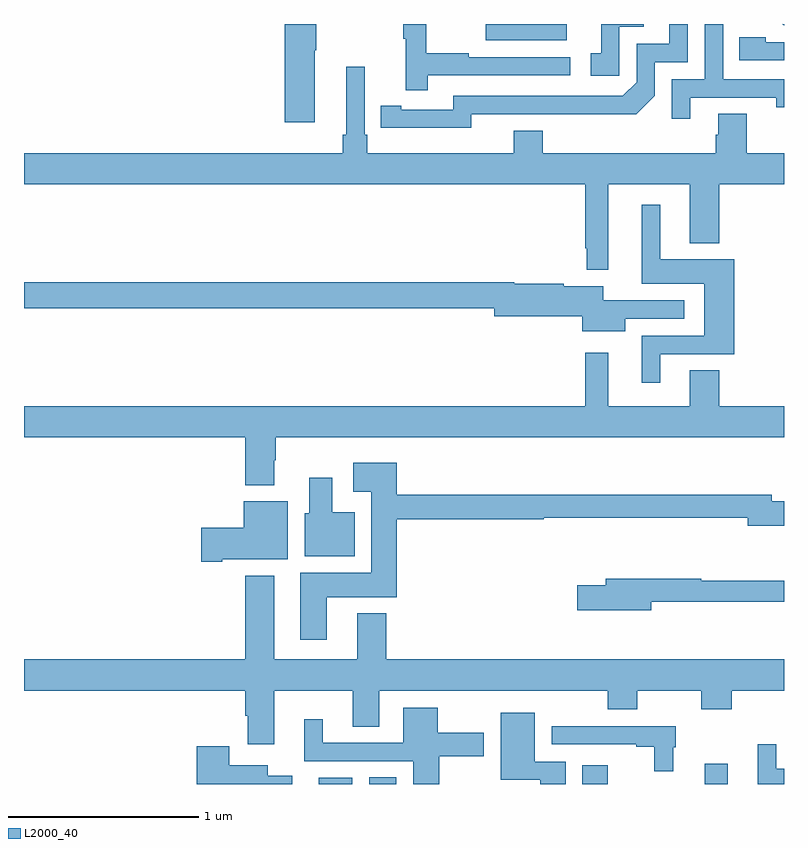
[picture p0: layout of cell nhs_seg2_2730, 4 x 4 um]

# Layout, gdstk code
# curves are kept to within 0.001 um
import gdstk
lib = gdstk.Library(unit=1e-6, precision=1e-09)
def R(c, l, rs):  # rectangles x0, y0, x1, y1
    for r in rs: c.add(gdstk.rectangle(r[:2], r[2:], *l))
def P(c, l, *ps):  # polygons
    for p in ps: c.add(gdstk.Polygon(p, *l))
L2000_40 = (2000, 40)

nhs_seg2_2730 = lib.new_cell('nhs_seg2_2730')
R(nhs_seg2_2730, L2000_40, [(254.552,657.8,254.728,657.832), (254.816,657.8,254.959,657.836), (255.938,657.8,256.072,657.898), (256.583,657.8,256.705,657.907), (255.429,661.715,255.856,661.8)])
P(nhs_seg2_2730, L2000_40, [(254.53,661.663),(254.538,661.663),(254.538,661.8),(254.372,661.8),(254.372,661.284),(254.53,661.284)],
  [(255.125,661.53),(255.874,661.53),(255.874,661.626),(255.341,661.626),(255.341,661.646),(255.118,661.646),(255.118,661.8),(254.997,661.8),(254.997,661.723),(255.008,661.723),(255.008,661.452),(255.125,661.452)],
  [(257,661.8),(256.992,661.8),(256.998,661.794),(257,661.794)],
  [(256.507,661.413),(256.958,661.413),(256.958,661.362),(257,661.362),(257,661.509),(256.68,661.509),(256.68,661.8),(256.584,661.8),(256.584,661.509),(256.41,661.509),(256.41,661.302),(256.507,661.302)],
  [(255.354,661.326),(256.222,661.325),(256.32,661.422),(256.32,661.599),(256.494,661.599),(256.494,661.8),(256.397,661.8),(256.397,661.695),(256.224,661.695),(256.224,661.494),(256.152,661.422),(255.258,661.422),(255.258,661.35),(254.986,661.35),(254.986,661.37),(254.878,661.37),(254.878,661.254),(255.354,661.253)],
  [(256.134,661.785),(256.263,661.785),(256.263,661.8),(256.037,661.8),(256.037,661.647),(255.984,661.647),(255.984,661.527),(256.134,661.527)],
  [(257,661.704),(256.905,661.704),(256.905,661.731),(256.765,661.731),(256.765,661.608),(257,661.608)],
  [(256.075,660.956),(256.505,660.956),(256.505,660.647),(256.658,660.647),(256.658,660.956),(257,660.956),(257,661.12),(256.803,661.12),(256.803,661.328),(256.655,661.328),(256.655,661.218),(256.642,661.218),(256.642,661.12),(255.731,661.12),(255.731,661.237),(255.578,661.237),(255.578,661.12),(254.807,661.12),(254.807,661.216),(254.793,661.216),(254.793,661.576),(254.696,661.576),(254.696,661.216),(254.677,661.216),(254.677,661.12),(253,661.12),(253,660.956),(255.954,660.956),(255.954,660.619),(255.961,660.619),(255.961,660.507),(256.075,660.507)],
  [(256.348,660.063),(256.739,660.063),(256.739,660.562),(256.348,660.562),(256.348,660.85),(256.25,660.85),(256.25,660.434),(256.58,660.434),(256.58,660.159),(256.25,660.159),(256.25,659.913),(256.348,659.913)],
  [(256.165,660.249),(256.474,660.249),(256.474,660.345),(256.048,660.345),(256.048,660.421),(255.842,660.421),(255.842,660.434),(255.58,660.434),(255.58,660.44),(253,660.44),(253,660.304),(255.476,660.304),(255.476,660.262),(255.938,660.262),(255.938,660.182),(256.165,660.182)],
  [(253,659.624),(254.165,659.624),(254.165,659.372),(254.317,659.372),(254.317,659.504),(254.325,659.504),(254.325,659.624),(257,659.624),(257,659.788),(256.658,659.788),(256.658,659.978),(256.505,659.978),(256.505,659.788),(256.075,659.788),(256.075,660.07),(255.954,660.07),(255.954,659.788),(253,659.788)],
  [(254.593,658.784),(254.963,658.784),(254.963,659.194),(255.735,659.194),(255.735,659.202),(256.808,659.202),(256.808,659.159),(257,659.159),(257,659.289),(256.936,659.289),(256.936,659.323),(254.963,659.323),(254.963,659.491),(254.733,659.491),(254.733,659.339),(254.828,659.339),(254.828,658.912),(254.453,658.912),(254.453,658.56),(254.593,658.56)],
  [(254.74,659.23),(254.623,659.23),(254.623,659.413),(254.501,659.413),(254.501,659.226),(254.477,659.226),(254.477,659),(254.74,659)],
  [(254.044,658.982),(254.389,658.982),(254.389,659.287),(254.156,659.287),(254.156,659.148),(253.932,659.148),(253.932,658.97),(254.044,658.97)],
  [(254.317,658.292),(254.729,658.292),(254.729,658.102),(254.869,658.102),(254.869,658.292),(256.072,658.292),(256.072,658.193),(256.227,658.193),(256.227,658.292),(256.564,658.292),(256.564,658.193),(256.724,658.193),(256.724,658.292),(257,658.292),(257,658.456),(254.906,658.456),(254.906,658.699),(254.753,658.699),(254.753,658.456),(254.317,658.456),(254.317,658.897),(254.165,658.897),(254.165,658.456),(253,658.456),(253,658.292),(254.165,658.292),(254.165,658.158),(254.177,658.158),(254.177,658.008),(254.317,658.008)],
  [(256.3,658.758),(257,658.758),(257,658.871),(256.565,658.871),(256.565,658.879),(256.061,658.879),(256.061,658.845),(255.912,658.845),(255.912,658.715),(256.3,658.715)],
  [(255.186,657.947),(255.421,657.947),(255.421,658.069),(255.178,658.069),(255.178,658.201),(254.996,658.201),(254.996,658.017),(254.572,658.017),(254.572,658.141),(254.474,658.141),(254.474,657.921),(255.048,657.921),(255.048,657.8),(255.186,657.8)],
  [(255.85,657.918),(255.688,657.918),(255.688,658.174),(255.509,658.174),(255.509,657.822),(255.716,657.822),(255.716,657.8),(255.85,657.8)],
  [(256.417,657.994),(256.429,657.994),(256.429,658.104),(255.777,658.104),(255.777,658.008),(256.223,658.008),(256.223,657.996),(256.318,657.996),(256.318,657.867),(256.417,657.867)],
  [(257,657.88),(256.96,657.88),(256.96,658.009),(256.862,658.009),(256.862,657.8),(257,657.8)],
  [(254.413,657.844),(254.284,657.844),(254.284,657.898),(254.08,657.898),(254.08,658),(253.91,658),(253.91,657.8),(254.413,657.8)])

lib.write_gds('nhs_seg2_2730.gds')
